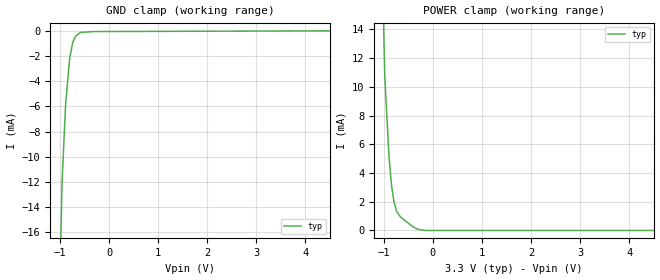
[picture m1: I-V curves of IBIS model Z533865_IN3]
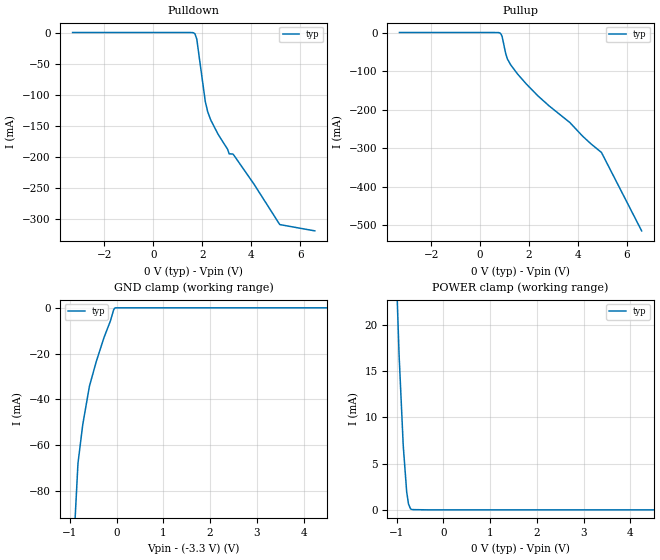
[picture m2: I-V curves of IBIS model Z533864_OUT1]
| YOU ARE ONLY AUTHORIZED TO USE THIS SOFTWARE
| ACCORDING TO LICENSOR'S LICENSE RESTRICTIONS.
[IBIS Ver] 3.1
[File Name] mc100lvel91dw_33_-33.ibs
[File Rev] 1
[Source] Derived from mc100el13dwpecl.ibs and
|   mc100el13dwpecl.ibs measured and created by ICX Technology
[Date] 1/13/2004
[Copyright]
| (C) COPYRIGHT 1993-2000
| MENTOR GRAPHICS CORPORATION
| ICX STANDARD LIBRARY, ICX PROJECT MODELING,
| ICX CUSTOM MODELING, ICX VENDOR MODEL
| ALL RIGHTS RESERVED.
| THE FOLLOWING ARE TRADEMARKS OR SERVICE MARKS OF
| MENTOR GRAPHICS CORPORATION:ICX (R), ICX STANDARD
| LIBRARY(R), ICX PROJECT MODELING(R), ICX CUSTOM
| MODELING(R), qualityIBIS(TM), MODELVIEWER(TM),
| AND MODELEDITOR(TM)
| ALL COPIES OF SOFTWARE, INCLUDING BUT NOT LIMITED TO
| ANY MODIFICATIONS, ENHANCEMENTS OR DERIVATIVE WORKS,
| MUST CONTAIN ALL MENTOR GRAPHICS CORPORATION'S
| NOTICES AND LEGENDS, INCLUDING THOSE EMBEDDED IN
| SOFTWARE AND THOSE AFFIXED TO SOFTWARE MEDIUM
| AND CONTAINER, AS RECEIVED FROM MENTOR GRAPHICS
| CORPORATION.
|  ZAP Model Builder 2.7
[Component] MC100LVEL91DW
[Manufacturer] On Semiconductor
[Package]
| variable   typ   min   max
R_pkg  .158ohms NA NA
L_pkg  3.37nH NA NA
C_pkg  .4pF NA NA
[Pin] signal_name  model_name  R_pin  L_pin C_pin
1 VCC POWER .158 3.36n .4p
2 D0 Z533865_IN3 .154 2.93n .38p
3 _D0 Z533865_IN3 .154 2.93n .38p
4 VBB POWER .158 3.36n .4p
5 D1 Z533865_IN3 .154 2.93n .38p
6 _D1 Z533865_IN3 .154 2.93n .38p
7 VBB POWER .15 2.51n .36p
8 D2 Z533865_IN3 .154 2.93n .38p
9 _D2 Z533865_IN3 .154 2.93n .38p
10 VEE GND .166 4.25n .44p
11 VCC POWER .15 2.51n .36p
12 _Q2 Z533864_OUT1 .166 4.25n .44p
13 Q2 Z533864_OUT1 .166 4.25n .44p
14 VEE GND .166 4.25n .44p
15 _Q1 Z533864_OUT1 .166 4.25n .44p
16 Q1 Z533864_OUT1 .166 4.25n .44p
17 VEE GND .166 4.25n .44p
18 _Q0 Z533864_OUT1 .166 4.25n .44p
19 Q0 Z533864_OUT1 .166 4.25n .44p
20 VCC POWER .158 3.36n .4p
[Diff Pin] inv_pin vdiff tdelay_typ tdelay_min tdelay_max
2 3 200mV NA NA NA
5 6 200mV NA NA NA
8 9 200mV NA NA NA
13 12 NA 0.620ns 0.520ns 0.720ns
16 15 NA 0.620ns 0.520ns 0.720ns
19 18 NA 0.620ns 0.520ns 0.720ns
| Models and submodels in the file (2): Z533865_IN3 (Input_ECL), Z533864_OUT1 (Output_ECL)
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| (C) COPYRIGHT 1993-2000
| MENTOR GRAPHICS CORPORATION
| ICX STANDARD LIBRARY, ICX PROJECT MODELING,
| ICX CUSTOM MODELING, ICX VENDOR MODEL
| ALL RIGHTS RESERVED.
| THE FOLLOWING ARE TRADEMARKS OR SERVICE MARKS OF
| MENTOR GRAPHICS CORPORATION:ICX (R), ICX STANDARD
| LIBRARY(R), ICX PROJECT MODELING(R), ICX CUSTOM
| MODELING(R), qualityIBIS(TM), MODELVIEWER(TM),
| AND MODELEDITOR(TM)
| ALL COPIES OF SOFTWARE, INCLUDING BUT NOT LIMITED TO
| ANY MODIFICATIONS, ENHANCEMENTS OR DERIVATIVE WORKS,
| MUST CONTAIN ALL MENTOR GRAPHICS CORPORATION'S
| NOTICES AND LEGENDS, INCLUDING THOSE EMBEDDED IN
| SOFTWARE AND THOSE AFFIXED TO SOFTWARE MEDIUM
| AND CONTAINER, AS RECEIVED FROM MENTOR GRAPHICS
| CORPORATION.
| Model Application Version 1.89 2/18/99.
[Model] Z533865_IN3
Model_type Input_ECL
Vinl = 1.825V
Vinh = 2.135V
C_comp 2.000pF NA NA
| variable typ   min   max
[Voltage Range] 3.300V NA NA
[GND Clamp Reference] 0.000V NA NA
[POWER Clamp Reference] 3.300V NA NA
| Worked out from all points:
|   GND clamp passes 1 mA (typ) near -0.75 V on its own axis
|   POWER clamp passes 1 mA (typ) near -0.67 V on its own axis
[GND Clamp]
-3.3V     -463.8mA   NA         NA
-961.6mV  -12.23mA   NA         NA
-888.7mV  -5.901mA   NA         NA
-805.7mV  -2.188mA   NA         NA
-741.7mV  -888.4uA   NA         NA
-683.1mV  -386.7uA   NA         NA
-586.7mV  -87.81uA   NA         NA
-293.4mV  -18.35uA   NA         NA
6.6V      60.15uA    NA         NA
[POWER Clamp]
-3.3V     355.3mA    NA         NA
-981mV    10.7mA     NA         NA
-895mV    5.142mA    NA         NA
-840mV    3.03mA     NA         NA
-791mV    1.952mA    NA         NA
-736mV    1.307mA    NA         NA
-660mV    939.4uA    NA         NA
-430mV    313.3uA    NA         NA
-309mV    79.1uA     NA         NA
-154.5mV  0A         NA         NA
6.6V      0A         NA         NA
| (C) COPYRIGHT 1993-2000
| MENTOR GRAPHICS CORPORATION
| ICX STANDARD LIBRARY, ICX PROJECT MODELING,
| ICX CUSTOM MODELING, ICX VENDOR MODEL
| ALL RIGHTS RESERVED.
| THE FOLLOWING ARE TRADEMARKS OR SERVICE MARKS OF
| MENTOR GRAPHICS CORPORATION:ICX (R), ICX STANDARD
| LIBRARY(R), ICX PROJECT MODELING(R), ICX CUSTOM
| MODELING(R), qualityIBIS(TM), MODELVIEWER(TM),
| AND MODELEDITOR(TM)
| ALL COPIES OF SOFTWARE, INCLUDING BUT NOT LIMITED TO
| ANY MODIFICATIONS, ENHANCEMENTS OR DERIVATIVE WORKS,
| MUST CONTAIN ALL MENTOR GRAPHICS CORPORATION'S
| NOTICES AND LEGENDS, INCLUDING THOSE EMBEDDED IN
| SOFTWARE AND THOSE AFFIXED TO SOFTWARE MEDIUM
| AND CONTAINER, AS RECEIVED FROM MENTOR GRAPHICS
| CORPORATION.
| Model Application Version 1.89 2/18/99.
[Model] Z533864_OUT1
Model_type Output_ECL
Vref=-2.000V
Rref=50.00ohms
Cref=0.000F
Vmeas=-1.320V
C_comp 2.000pF NA NA
| variable typ   min   max
[Voltage Range] -3.300V NA NA
[POWER Clamp Reference] 0.000V NA NA
[Pullup Reference] 0.000V NA NA
[Pulldown Reference] 0.000V NA NA
[GND Clamp Reference] -3.300V NA NA
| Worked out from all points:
|   GND clamp passes 1 mA (typ) near -0.06 V on its own axis
|   POWER clamp passes 1 mA (typ) near -0.76 V on its own axis
[GND Clamp]
-3.3V     -1.045A    NA         NA
-825mV    -68mA      NA         NA
-722mV    -51mA      NA         NA
-581mV    -34.4mA    NA         NA
-435mV    -23.6mA    NA         NA
-268mV    -13mA      NA         NA
-132mV    -5.8mA     NA         NA
-62mV     -900uA     NA         NA
-43mV     -200uA     NA         NA
-21.5mV   0A         NA         NA
6.6V      0A         NA         NA
[Pulldown]
-3.3V     230.2uA    NA         NA
1.704V    -1.99mA    NA         NA
1.777V    -10.37mA   NA         NA
2.124V    -110.6mA   NA         NA
2.224V    -127.4mA   NA         NA
2.35V     -140.8mA   NA         NA
2.644V    -163.3mA   NA         NA
3.037V    -187.8mA   NA         NA
3.101V    -195.1mA   NA         NA
3.306V    -198mA     NA         NA
5.161V    -308.5mA   NA         NA
6.6V      -319.1mA   NA         NA
[Pullup]
-3.3V     184.2uA    NA         NA
808.8mV   -1.075mA   NA         NA
897mV     -10.17mA   NA         NA
1.045V    -54.86mA   NA         NA
1.113V    -68.41mA   NA         NA
1.252V    -84.12mA   NA         NA
1.529V    -107.6mA   NA         NA
2.363V    -164.3mA   NA         NA
3.667V    -233.4mA   NA         NA
4.185V    -268.6mA   NA         NA
4.957V    -310.9mA   NA         NA
6.6V      -514.3mA   NA         NA
[POWER Clamp]
-3.3V     1.057A     NA         NA
-1.035V   29.93mA    NA         NA
-948.8mV  16.81mA    NA         NA
-859.3mV  6.923mA    NA         NA
-785.9mV  1.946mA    NA         NA
-747.2mV  639.9uA    NA         NA
-703.8mV  107.1uA    NA         NA
-665mV    25.4uA     NA         NA
-332.5mV  0A         NA         NA
6.6V      0A         NA         NA
[Ramp]
| variable typ min max
dV/dt_r 479.5m/327.1p NA NA
dV/dt_f 479.5m/356.9p NA NA
R_load = 50.00Ohms
